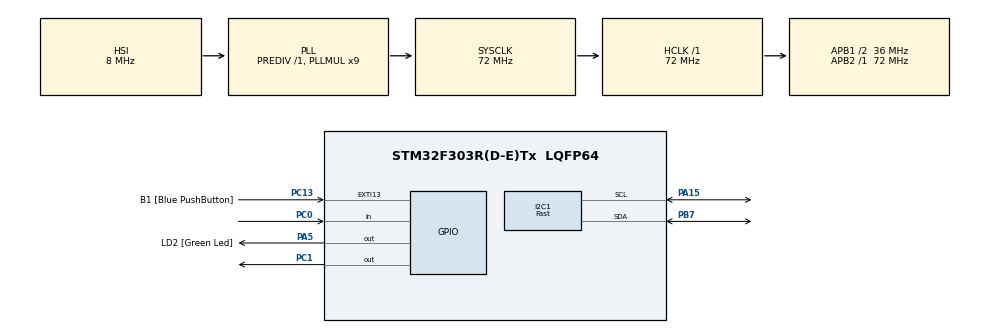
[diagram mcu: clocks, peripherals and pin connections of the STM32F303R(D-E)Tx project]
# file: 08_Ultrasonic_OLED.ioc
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I2C1.I2C_Speed_Mode=I2C_Fast
I2C1.Timing=0x0010020A
Mcu.Family=STM32F3
Mcu.Name=STM32F303R(D-E)Tx
Mcu.Package=LQFP64
NVIC.PriorityGroup=NVIC_PRIORITYGROUP_0
PA13.GPIO_Label=TMS
PA13.Mode=Serial_Wire
PA13.Signal=SYS_JTMS-SWDIO
PA14.GPIO_Label=TCK
PA14.Mode=Serial_Wire
PA14.Signal=SYS_JTCK-SWCLK
PA15.Mode=I2C
PA15.Signal=I2C1_SCL
PA2.GPIO_Label=USART_TX
PA2.GPIO_Mode=GPIO_MODE_AF_PP
PA2.GPIO_PuPd=GPIO_NOPULL
PA2.GPIO_Speed=GPIO_SPEED_FREQ_LOW
PA2.Signal=USART2_TX
PA3.GPIO_Label=USART_RX
PA3.GPIO_Mode=GPIO_MODE_AF_PP
PA3.GPIO_PuPd=GPIO_NOPULL
PA3.GPIO_Speed=GPIO_SPEED_FREQ_LOW
PA3.Signal=USART2_RX
PA5.GPIO_Label=LD2 [Green Led]
PA5.GPIO_Mode=GPIO_MODE_OUTPUT_PP
PA5.GPIO_PuPd=GPIO_NOPULL
PA5.GPIO_Speed=GPIO_SPEED_FREQ_LOW
PA5.Signal=GPIO_Output
PB3.GPIO_Label=SWO
PB3.Signal=SYS_JTDO-TRACESWO
PB7.Mode=I2C
PB7.Signal=I2C1_SDA
PC0.Signal=GPIO_Input
PC1.Signal=GPIO_Output
PC13.GPIO_Label=B1 [Blue PushButton]
PC13.GPIO_ModeDefaultEXTI=GPIO_MODE_IT_FALLING
PC13.Signal=GPXTI13
PC14-OSC32_IN.Signal=RCC_OSC32_IN
PC15-OSC32_OUT.Signal=RCC_OSC32_OUT
PF0-OSC_IN.Mode=HSE-External-Oscillator
PF0-OSC_IN.Signal=RCC_OSC_IN
PF1-OSC_OUT.Mode=HSE-External-Oscillator
PF1-OSC_OUT.Signal=RCC_OSC_OUT
ProjectManager.HeapSize=0x200
ProjectManager.StackSize=0x400
ProjectManager.TargetToolchain=STM32CubeIDE
RCC.AHBFreq_Value=72000000
RCC.APB1CLKDivider=RCC_HCLK_DIV2
RCC.APB1Freq_Value=36000000
RCC.APB1TimFreq_Value=72000000
RCC.APB2Freq_Value=72000000
RCC.APB2TimFreq_Value=72000000
RCC.CortexFreq_Value=72000000
RCC.HCLKFreq_Value=72000000
RCC.HSE_VALUE=8000000
RCC.HSI_VALUE=8000000
RCC.LSE_VALUE=32768
RCC.PLLM=8
RCC.PLLMUL=RCC_PLL_MUL9
RCC.PLLN=336
RCC.PLLP=RCC_PLLP_DIV4
RCC.PLLQ=7
RCC.RCC_PLLsource_Clock_Source_FROM_HSE=RCC_HSE_PREDIV_DIV2
RCC.SYSCLKFreq_VALUE=72000000
RCC.SYSCLKSourceVirtual=RCC_SYSCLKSOURCE_PLLCLK
RCC.USBFreq_Value=72000000
VP_TIM1_VS_ClockSourceINT.Mode=Internal
board=NUCLEO-F303RE

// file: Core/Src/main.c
/* USER CODE BEGIN Header */
/**
  ******************************************************************************
  * @file           : main.c
  * @brief          : Main program body
  ******************************************************************************
  * @attention
  *
  * Copyright (c) 2026 STMicroelectronics.
  * All rights reserved.
  *
  * This software is licensed under terms that can be found in the LICENSE file
  * in the root directory of this software component.
  * If no LICENSE file comes with this software, it is provided AS-IS.
  *
  ******************************************************************************
  */
/* USER CODE END Header */
#include "main.h"

/* USER CODE BEGIN Includes */
#include "ssd1306_fonts.h"
#include "ssd1306.h"
#include "stdio.h"

/* USER CODE END Includes */

I2C_HandleTypeDef hi2c1;

TIM_HandleTypeDef htim1;

/* USER CODE BEGIN PV */
#define TRIG_PIN GPIO_PIN_1
#define TRIG_PORT GPIOC
#define ECHO_PIN GPIO_PIN_0
#define ECHO_PORT GPIOC
uint32_t pMillis;
uint32_t Value1 = 0;
uint32_t Value2 = 0;
uint16_t Distance  = 0;  // cm
char strCopy[15];

/* USER CODE END PV */

void SystemClock_Config(void);
static void MX_GPIO_Init(void);
static void MX_I2C1_Init(void);
static void MX_TIM1_Init(void);

int main(void)
{

  /* MCU Configuration--------------------------------------------------------*/

  /* Reset of all peripherals, Initializes the Flash interface and the Systick. */
  HAL_Init();

  /* Configure the system clock */
  SystemClock_Config();

  /* Initialize all configured peripherals */
  MX_GPIO_Init();
  MX_I2C1_Init();
  MX_TIM1_Init();
  /* USER CODE BEGIN 2 */
  HAL_TIM_Base_Start(&htim1);
    HAL_GPIO_WritePin(TRIG_PORT, TRIG_PIN, GPIO_PIN_RESET);  // pull the TRIG pin low

    ssd1306_Init();
    ssd1306_Fill(Black);
    ssd1306_UpdateScreen();

    ssd1306_SetCursor(20, 5);
    ssd1306_WriteString("TENSOR", Font_11x18, White);
    ssd1306_SetCursor(20, 30);
    ssd1306_WriteString("ACADEMY", Font_11x18, White);

    /* Update screen */
    ssd1306_UpdateScreen();

  /* USER CODE END 2 */

  /* Infinite loop */
  while (1)
  {
	  HAL_GPIO_WritePin(TRIG_PORT, TRIG_PIN, GPIO_PIN_SET);  // pull the TRIG pin HIGH
	  	__HAL_TIM_SET_COUNTER(&htim1, 0);
	  	while (__HAL_TIM_GET_COUNTER (&htim1) < 10);  // wait for 10 us
	  	HAL_GPIO_WritePin(TRIG_PORT, TRIG_PIN, GPIO_PIN_RESET);  // pull the TRIG pin low

	  	pMillis = HAL_GetTick(); // used this to avoid infinite while loop  (for timeout)
	  	// wait for the echo pin to go high
	  	while (!(HAL_GPIO_ReadPin (ECHO_PORT, ECHO_PIN)) && pMillis + 10 >  HAL_GetTick());
	  	Value1 = __HAL_TIM_GET_COUNTER (&htim1);

	  	pMillis = HAL_GetTick(); // used this to avoid infinite while loop (for timeout)
	  	// wait for the echo pin to go low
	  	while ((HAL_GPIO_ReadPin (ECHO_PORT, ECHO_PIN)) && pMillis + 50 > HAL_GetTick());
	  	Value2 = __HAL_TIM_GET_COUNTER (&htim1);

	  	Distance = (Value2-Value1)* 0.034/2;

	  	ssd1306_Fill(Black);
	  	ssd1306_UpdateScreen();
	  	ssd1306_SetCursor(20, 5);
	  	ssd1306_WriteString("Distance:", Font_11x18, White);
	  	sprintf(strCopy,"%d", Distance);
	  	ssd1306_SetCursor(50, 30);
	  	ssd1306_WriteString(strCopy, Font_11x18, White);
	  	ssd1306_UpdateScreen();
	  	HAL_Delay(50);

  }
}

void SystemClock_Config(void)
{
  RCC_OscInitTypeDef RCC_OscInitStruct = {0};
  RCC_ClkInitTypeDef RCC_ClkInitStruct = {0};
  RCC_PeriphCLKInitTypeDef PeriphClkInit = {0};

  /** Initializes the RCC Oscillators according to the specified parameters
  * in the RCC_OscInitTypeDef structure.
  */
  RCC_OscInitStruct.OscillatorType = RCC_OSCILLATORTYPE_HSI;
  RCC_OscInitStruct.HSIState = RCC_HSI_ON;
  RCC_OscInitStruct.HSICalibrationValue = RCC_HSICALIBRATION_DEFAULT;
  RCC_OscInitStruct.PLL.PLLState = RCC_PLL_ON;
  RCC_OscInitStruct.PLL.PLLSource = RCC_PLLSOURCE_HSI;
  RCC_OscInitStruct.PLL.PLLMUL = RCC_PLL_MUL9;
  RCC_OscInitStruct.PLL.PREDIV = RCC_PREDIV_DIV1;
  if (HAL_RCC_OscConfig(&RCC_OscInitStruct) != HAL_OK)
  {
    Error_Handler();
  }

  /** Initializes the CPU, AHB and APB buses clocks
  */
  RCC_ClkInitStruct.ClockType = RCC_CLOCKTYPE_HCLK|RCC_CLOCKTYPE_SYSCLK
                              |RCC_CLOCKTYPE_PCLK1|RCC_CLOCKTYPE_PCLK2;
  RCC_ClkInitStruct.SYSCLKSource = RCC_SYSCLKSOURCE_PLLCLK;
  RCC_ClkInitStruct.AHBCLKDivider = RCC_SYSCLK_DIV1;
  RCC_ClkInitStruct.APB1CLKDivider = RCC_HCLK_DIV2;
  RCC_ClkInitStruct.APB2CLKDivider = RCC_HCLK_DIV1;

  if (HAL_RCC_ClockConfig(&RCC_ClkInitStruct, FLASH_LATENCY_2) != HAL_OK)
  {
    Error_Handler();
  }
  PeriphClkInit.PeriphClockSelection = RCC_PERIPHCLK_I2C1|RCC_PERIPHCLK_TIM1;
  PeriphClkInit.I2c1ClockSelection = RCC_I2C1CLKSOURCE_HSI;
  PeriphClkInit.Tim1ClockSelection = RCC_TIM1CLK_HCLK;
  if (HAL_RCCEx_PeriphCLKConfig(&PeriphClkInit) != HAL_OK)
  {
    Error_Handler();
  }
}

static void MX_I2C1_Init(void)
{

  hi2c1.Instance = I2C1;
  hi2c1.Init.Timing = 0x0010020A;
  hi2c1.Init.OwnAddress1 = 0;
  hi2c1.Init.AddressingMode = I2C_ADDRESSINGMODE_7BIT;
  hi2c1.Init.DualAddressMode = I2C_DUALADDRESS_DISABLE;
  hi2c1.Init.OwnAddress2 = 0;
  hi2c1.Init.OwnAddress2Masks = I2C_OA2_NOMASK;
  hi2c1.Init.GeneralCallMode = I2C_GENERALCALL_DISABLE;
  hi2c1.Init.NoStretchMode = I2C_NOSTRETCH_DISABLE;
  if (HAL_I2C_Init(&hi2c1) != HAL_OK)
  {
    Error_Handler();
  }

  /** Configure Analogue filter
  */
  if (HAL_I2CEx_ConfigAnalogFilter(&hi2c1, I2C_ANALOGFILTER_ENABLE) != HAL_OK)
  {
    Error_Handler();
  }

  /** Configure Digital filter
  */
  if (HAL_I2CEx_ConfigDigitalFilter(&hi2c1, 0) != HAL_OK)
  {
    Error_Handler();
  }

}

static void MX_TIM1_Init(void)
{

  TIM_ClockConfigTypeDef sClockSourceConfig = {0};
  TIM_MasterConfigTypeDef sMasterConfig = {0};

  htim1.Instance = TIM1;
  htim1.Init.Prescaler = 0;
  htim1.Init.CounterMode = TIM_COUNTERMODE_UP;
  htim1.Init.Period = 65535;
  htim1.Init.ClockDivision = TIM_CLOCKDIVISION_DIV1;
  htim1.Init.RepetitionCounter = 0;
  htim1.Init.AutoReloadPreload = TIM_AUTORELOAD_PRELOAD_DISABLE;
  if (HAL_TIM_Base_Init(&htim1) != HAL_OK)
  {
    Error_Handler();
  }
  sClockSourceConfig.ClockSource = TIM_CLOCKSOURCE_INTERNAL;
  if (HAL_TIM_ConfigClockSource(&htim1, &sClockSourceConfig) != HAL_OK)
  {
    Error_Handler();
  }
  sMasterConfig.MasterOutputTrigger = TIM_TRGO_RESET;
  sMasterConfig.MasterOutputTrigger2 = TIM_TRGO2_RESET;
  sMasterConfig.MasterSlaveMode = TIM_MASTERSLAVEMODE_DISABLE;
  if (HAL_TIMEx_MasterConfigSynchronization(&htim1, &sMasterConfig) != HAL_OK)
  {
    Error_Handler();
  }

}

static void MX_GPIO_Init(void)
{
  GPIO_InitTypeDef GPIO_InitStruct = {0};

  /* GPIO Ports Clock Enable */
  __HAL_RCC_GPIOC_CLK_ENABLE();
  __HAL_RCC_GPIOF_CLK_ENABLE();
  __HAL_RCC_GPIOA_CLK_ENABLE();
  __HAL_RCC_GPIOB_CLK_ENABLE();

  /*Configure GPIO pin Output Level */
  HAL_GPIO_WritePin(GPIOC, GPIO_PIN_1, GPIO_PIN_RESET);

  /*Configure GPIO pin Output Level */
  HAL_GPIO_WritePin(LD2_GPIO_Port, LD2_Pin, GPIO_PIN_RESET);

  /*Configure GPIO pin : B1_Pin */
  GPIO_InitStruct.Pin = B1_Pin;
  GPIO_InitStruct.Mode = GPIO_MODE_IT_FALLING;
  GPIO_InitStruct.Pull = GPIO_NOPULL;
  HAL_GPIO_Init(B1_GPIO_Port, &GPIO_InitStruct);

  /*Configure GPIO pin : PC0 */
  GPIO_InitStruct.Pin = GPIO_PIN_0;
  GPIO_InitStruct.Mode = GPIO_MODE_INPUT;
  GPIO_InitStruct.Pull = GPIO_NOPULL;
  HAL_GPIO_Init(GPIOC, &GPIO_InitStruct);

  /*Configure GPIO pin : PC1 */
  GPIO_InitStruct.Pin = GPIO_PIN_1;
  GPIO_InitStruct.Mode = GPIO_MODE_OUTPUT_PP;
  GPIO_InitStruct.Pull = GPIO_NOPULL;
  GPIO_InitStruct.Speed = GPIO_SPEED_FREQ_LOW;
  HAL_GPIO_Init(GPIOC, &GPIO_InitStruct);

  /*Configure GPIO pins : USART_TX_Pin USART_RX_Pin */
  GPIO_InitStruct.Pin = USART_TX_Pin|USART_RX_Pin;
  GPIO_InitStruct.Mode = GPIO_MODE_AF_PP;
  GPIO_InitStruct.Pull = GPIO_NOPULL;
  GPIO_InitStruct.Speed = GPIO_SPEED_FREQ_LOW;
  GPIO_InitStruct.Alternate = GPIO_AF7_USART2;
  HAL_GPIO_Init(GPIOA, &GPIO_InitStruct);

  /*Configure GPIO pin : LD2_Pin */
  GPIO_InitStruct.Pin = LD2_Pin;
  GPIO_InitStruct.Mode = GPIO_MODE_OUTPUT_PP;
  GPIO_InitStruct.Pull = GPIO_NOPULL;
  GPIO_InitStruct.Speed = GPIO_SPEED_FREQ_LOW;
  HAL_GPIO_Init(LD2_GPIO_Port, &GPIO_InitStruct);

}

void Error_Handler(void)
{
  __disable_irq();
  while (1)
  {
  }
}
